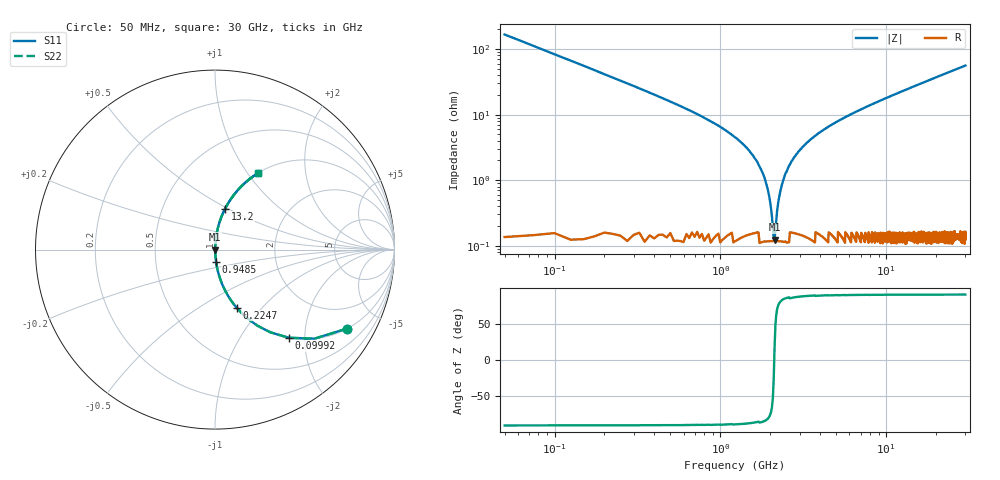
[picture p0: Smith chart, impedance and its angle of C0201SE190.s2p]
!	AVX Thin Film Operation 	Date: April 2014
!	Description: Accu-P® Series, Thin Film  SMD RF Capacitor
!	Part Number: 0201YK190FBSTR
# MHZ S MA R 50
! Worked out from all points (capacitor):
!   1201 points, 50 MHz to 30 GHz, reference 50 ohm
!   read as one part in series: C = 19 pF near 199.8 MHz
!   lowest |Z| = 124 mohm at 2.122 GHz (marker M1)
!   series resonance near 2.112 GHz, so ESL is about 300 pH
!   S11 on the Smith chart (normalised r, x): 50 MHz: 1.00, -3.35; 99.92 MHz: 1.00, -1.67; 224.7 MHz: 1.00, -0.74; 948.5 MHz: 1.00, -0.14; 13.2 GHz: 1.00, +0.48; 30 GHz: 1.00, +1.12
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50  0.858 -30.8  0.513 59.1  0.513 59.1  0.858 -30.8
99.917  0.641 -50.0  0.766 39.9  0.766 39.9  0.641 -50.0
224.708  0.345 -69.6  0.937 20.2  0.937 20.2  0.345 -69.6
424.375  0.186 -78.9  0.981 10.7  0.981 10.7  0.186 -78.9
948.5  0.07 -84.9  0.996 4.0  0.996 4.0  0.07 -84.9
1422.708  0.032 -85.7  0.998 1.8  0.998 1.8  0.032 -85.7
1697.25  0.017 -84.5  0.998 1.0  0.998 1.0  0.017 -84.5
1871.958  0.009662 -81.4  0.999 0.5  0.999 0.5  0.009662 -81.4
2021.708  0.003705 -68.3  0.999 0.2  0.999 0.2  0.003705 -68.3
2121.542  0.001408 15.3  0.999 -0.0  0.999 -0.0  0.001408 15.3
2221.375  0.004241 71.1  0.999 -0.2  0.999 -0.2  0.004241 71.1
2346.167  0.008471 80.3  0.999 -0.5  0.999 -0.5  0.008471 80.3
2470.958  0.013 83.1  0.999 -0.7  0.999 -0.7  0.013 83.1
2895.25  0.025 85.5  0.998 -1.5  0.998 -1.5  0.025 85.5
3718.875  0.047 85.6  0.998 -2.7  0.998 -2.7  0.047 85.6
5041.667  0.078 84.5  0.996 -4.5  0.996 -4.5  0.078 84.5
10058.29  0.178 79.3  0.983 -10.2  0.983 -10.2  0.178 79.3
13203.04  0.235 76.1  0.971 -13.6  0.971 -13.6  0.235 76.1
15025  0.266 74.3  0.963 -15.4  0.963 -15.4  0.266 74.3
20016.67  0.348 69.4  0.936 -20.4  0.936 -20.4  0.348 69.4
25033.29  0.423 64.8  0.905 -25.0  0.905 -25.0  0.423 64.8
30000  0.489 60.6  0.871 -29.3  0.871 -29.3  0.489 60.6
